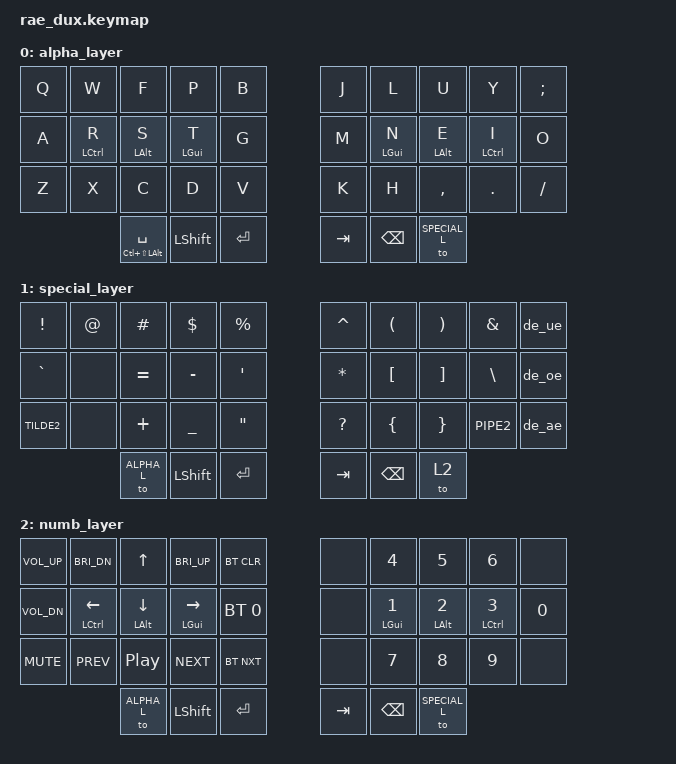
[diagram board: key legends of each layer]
/*
 * Copyright (c) 2021 The ZMK Contributors
 *
 * SPDX-License-Identifier: MIT
 */

#include <behaviors.dtsi>
#include <dt-bindings/zmk/bt.h>
#include <dt-bindings/zmk/keys.h>

#define HOST_OS 2
#include "../zmk-nodefree-config/helper.h"
#include "../zmk-nodefree-config/international_chars/greek.dtsi"
#include "../zmk-nodefree-config/international_chars/german.dtsi"



#define ___ &none

#define ALPHA_L 0
#define SPECIAL_L 1
#define NUMBER_L 2

/ {
    combos {
        compatible = "zmk,combos";

        #define COMBO(NAME, BINDINGS, KEYPOS, TIMEOUT) \
              combo_##NAME { \
                timeout-ms = <TIMEOUT>; \
                bindings = <BINDINGS>; \
                key-positions = <KEYPOS>; \
              };

        /*                KEY POSITIONS

          ╭────────────────────╮ ╭────────────────────╮
          │  0   1   2   3   4 │ │  5   6   7   8   9 │
          │ 10  11  12  13  14 │ │ 15  16  17  18  19 │
          │ 20  21  22  23  24 │ │ 25  26  27  28  29 │
          ╰───────╮ 30  31  32 │ │ 33  34  35 ╭───────╯
                  ╰────────────╯ ╰────────────╯        */

        #define COMBO_TIME 200

		COMBO(escape, &kp ESC, 31 34, COMBO_TIME)
    };
	behaviors {
		rpi: require_prior_idle{
    		compatible = "zmk,behavior-hold-tap";
    		label = "REQUIRE_PRIOR_IDLE";
    		#binding-cells = <2>;
    		flavor = "tap-preferred";
    		tapping-term-ms = <300>;
    		quick-tap-ms = <200>;
    		require-prior-idle-ms = <250>;
   			bindings = <&kp>, <&kp>;
		};
    };
	keymap {
		compatible = "zmk,keymap";

		alpha_layer {
			bindings = <
                // ╭─────────────┬─────────────┬─────────────┬─────────────┬─────────────╮                                       ╭─────────────┬─────────────┬─────────────┬─────────────┬─────────────╮
                     &kp Q         &kp W         &kp F         &kp P         &kp B                                                 &kp J         &kp L         &kp U         &kp Y         &kp SEMI                
                // ├─────────────┼─────────────┼─────────────┼─────────────┼─────────────┤                                       ├─────────────┼─────────────┼─────────────┼─────────────┼─────────────┤
                     &kp  A        &rpi LCTRL R  &rpi LALT S   &rpi LGUI T    &kp G                                                 &kp M        &rpi LGUI N   &rpi LALT E   &rpi LCTRL I   &kp O                
                // ├─────────────┼─────────────┼─────────────┼─────────────┼─────────────┤                                       ├─────────────┼─────────────┼─────────────┼─────────────┼─────────────┤
                     &kp Z         &kp X         &kp C         &kp D         &kp V                                                 &kp K         &kp H         &kp COMMA     &kp DOT       &kp SLASH                
                // ╰─────────────┼─────────────┴─────────────┼─────────────┼─────────────┤─────────────╮           ╭─────────────├─────────────┼─────────────┼─────────────┴───────────────────────────╯
															   &rpi LC(LS(LALT)) SPACE &kp LSHFT &kp ENTER           &kp TAB      &kp BSPC     &to SPECIAL_L 
                //                                           ╰─────────────┴─────────────┴─────────────╯           ╰─────────────┴─────────────┴─────────────╯
			>;
		};

		special_layer {
			bindings = <
                // ╭─────────────┬─────────────┬─────────────┬─────────────┬─────────────╮                                       ╭─────────────┬─────────────┬─────────────┬─────────────┬─────────────╮
                     &kp EXCL      &kp AT        &kp HASH      &kp DOLLAR    &kp PERCENT                                           &kp CARET     &kp LPAR      &kp RPAR      &kp AMPS      &de_ue
                // ├─────────────┼─────────────┼─────────────┼─────────────┼─────────────┤                                       ├─────────────┼─────────────┼─────────────┼─────────────┼─────────────┤
                     &kp  GRAVE    ___           &kp EQUAL     &kp MINUS     &kp SQT                                               &kp STAR      &kp LBKT      &kp RBKT      &kp BSLH      &de_oe
                // ├─────────────┼─────────────┼─────────────┼─────────────┼─────────────┤                                       ├─────────────┼─────────────┼─────────────┼─────────────┼─────────────┤
                     &kp TILDE2    ___           &kp PLUS      &kp UNDER     &kp DQT                                               &kp QUESTION  &kp LBRC      &kp RBRC      &kp PIPE2     &de_ae
                // ╰─────────────┼─────────────┴─────────────┼─────────────┼─────────────┤─────────────╮           ╭─────────────├─────────────┼─────────────┼─────────────┴───────────────────────────╯
															   &to ALPHA_L   &kp LSHFT     &kp ENTER                 &kp TAB       &kp BSPC      &to 2
                //                                           ╰─────────────┴─────────────┴─────────────╯           ╰─────────────┴─────────────┴─────────────╯
			>;
		};

		numb_layer {
			bindings = <
                // ╭─────────────┬─────────────┬─────────────┬─────────────┬─────────────╮                                       ╭─────────────┬─────────────┬─────────────┬─────────────┬─────────────╮
                     &kp C_VOL_UP  &kp C_BRI_DN  &kp UP        &kp C_BRI_UP  &bt BT_CLR                                            ___           &kp N4        &kp N5        &kp N6        ___            
                // ├─────────────┼─────────────┼─────────────┼─────────────┼─────────────┤                                       ├─────────────┼─────────────┼─────────────┼─────────────┼─────────────┤
                    &kp C_VOL_DN  &rpi LCTRL LEFT &rpi LALT DOWN &rpi LGUI RIGHT &bt BT_SEL 0                                      ___           &rpi LGUI N1  &rpi LALT N2  &rpi LCTRL N3 &kp N0            
                // ├─────────────┼─────────────┼─────────────┼─────────────┼─────────────┤                                       ├─────────────┼─────────────┼─────────────┼─────────────┼─────────────┤
                     &kp C_MUTE    &kp C_PREV    &kp C_PP      &kp C_NEXT    &bt BT_NXT                                            ___           &kp N7        &kp N8        &kp N9        ___            
                // ╰─────────────┼─────────────┴─────────────┼─────────────┼─────────────┤─────────────╮           ╭─────────────├─────────────┼─────────────┼─────────────┴───────────────────────────╯
															   &to ALPHA_L   &kp LSHFT     &kp ENTER                 &kp TAB       &kp BSPC     &to SPECIAL_L
                //                                           ╰─────────────┴─────────────┴─────────────╯           ╰─────────────┴─────────────┴─────────────╯
			>;
		};
	};
};
